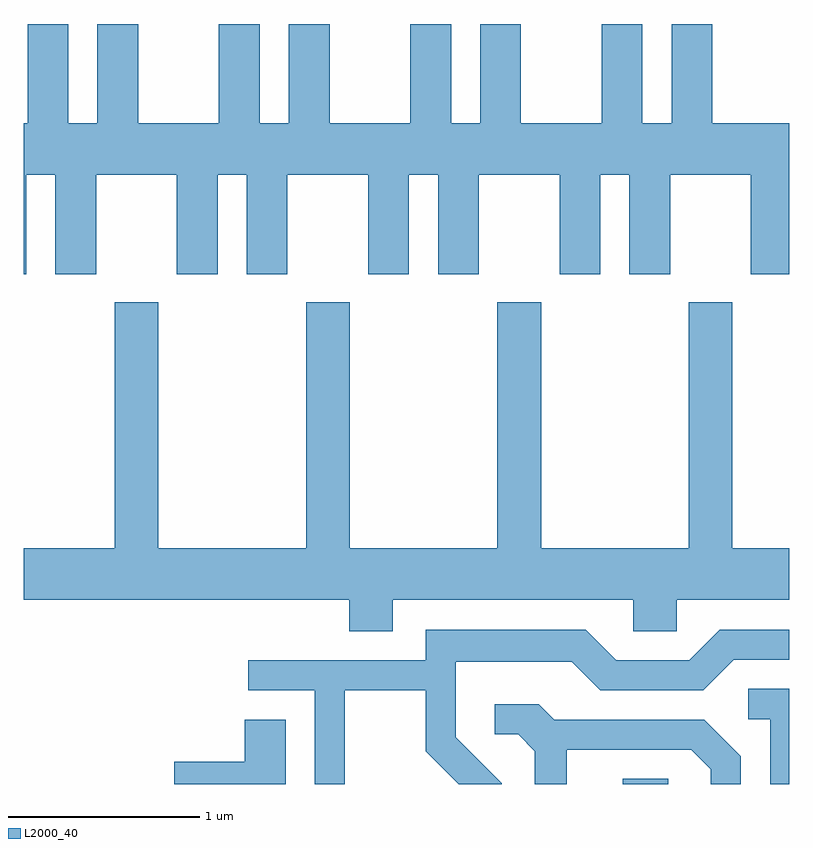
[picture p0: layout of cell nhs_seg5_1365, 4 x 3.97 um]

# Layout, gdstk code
import gdstk
lib = gdstk.Library(unit=1e-6, precision=1e-09)
def R(c, l, rs):  # rectangles x0, y0, x1, y1
    for r in rs: c.add(gdstk.rectangle(r[:2], r[2:], *l))
def P(c, l, *ps):  # polygons
    for p in ps: c.add(gdstk.Polygon(p, *l))
L2000_40 = (2000, 40)

nhs_seg5_1365 = lib.new_cell('nhs_seg5_1365')
R(nhs_seg5_1365, L2000_40, [(228.741,1438.072,228.979,1438.099)])
P(nhs_seg5_1365, L2000_40, [(225.844,1442.044),(225.631,1442.044),(225.631,1441.524),(225.611,1441.524),(225.611,1440.736),(225.624,1440.736),(225.624,1441.256),(225.776,1441.256),(225.776,1440.736),(225.989,1440.736),(225.989,1441.256),(226.411,1441.256),(226.411,1440.736),(226.624,1440.736),(226.624,1441.256),(226.776,1441.256),(226.776,1440.736),(226.989,1440.736),(226.989,1441.256),(227.411,1441.256),(227.411,1440.736),(227.624,1440.736),(227.624,1441.256),(227.776,1441.256),(227.776,1440.736),(227.989,1440.736),(227.989,1441.256),(228.411,1441.256),(228.411,1440.736),(228.624,1440.736),(228.624,1441.256),(228.776,1441.256),(228.776,1440.736),(228.989,1440.736),(228.989,1441.256),(229.411,1441.256),(229.411,1440.736),(229.611,1440.736),(229.611,1441.524),(229.209,1441.524),(229.209,1442.044),(228.996,1442.044),(228.996,1441.524),(228.844,1441.524),(228.844,1442.044),(228.631,1442.044),(228.631,1441.524),(228.209,1441.524),(228.209,1442.044),(227.996,1442.044),(227.996,1441.524),(227.844,1441.524),(227.844,1442.044),(227.631,1442.044),(227.631,1441.524),(227.209,1441.524),(227.209,1442.044),(226.996,1442.044),(226.996,1441.524),(226.844,1441.524),(226.844,1442.044),(226.631,1442.044),(226.631,1441.524),(226.209,1441.524),(226.209,1442.044),(225.996,1442.044),(225.996,1441.524),(225.844,1441.524)],
  [(227.539,1439.036),(228.796,1439.036),(228.796,1438.871),(229.024,1438.871),(229.024,1439.036),(229.611,1439.036),(229.611,1439.304),(229.314,1439.304),(229.314,1440.589),(229.086,1440.589),(229.086,1439.304),(228.314,1439.304),(228.314,1440.589),(228.086,1440.589),(228.086,1439.304),(227.314,1439.304),(227.314,1440.589),(227.086,1440.589),(227.086,1439.304),(226.314,1439.304),(226.314,1440.589),(226.086,1440.589),(226.086,1439.304),(225.611,1439.304),(225.611,1439.036),(227.311,1439.036),(227.311,1438.871),(227.539,1438.871)],
  [(227.289,1438.561),(227.711,1438.561),(227.711,1438.244),(227.883,1438.072),(228.109,1438.072),(228.109,1438.077),(227.869,1438.317),(227.869,1438.711),(228.474,1438.711),(228.624,1438.561),(229.162,1438.561),(229.322,1438.721),(229.611,1438.721),(229.611,1438.879),(229.249,1438.879),(229.089,1438.719),(228.707,1438.719),(228.547,1438.879),(227.711,1438.879),(227.711,1438.719),(226.783,1438.719),(226.783,1438.561),(227.131,1438.561),(227.131,1438.072),(227.289,1438.072)],
  [(229.611,1438.569),(229.398,1438.569),(229.398,1438.411),(229.511,1438.411),(229.511,1438.072),(229.611,1438.072)],
  [(228.449,1438.251),(229.099,1438.251),(229.201,1438.149),(229.201,1438.072),(229.359,1438.072),(229.359,1438.217),(229.167,1438.409),(228.382,1438.409),(228.302,1438.489),(228.073,1438.489),(228.073,1438.331),(228.194,1438.331),(228.281,1438.244),(228.281,1438.072),(228.449,1438.072)],
  [(226.979,1438.409),(226.766,1438.409),(226.766,1438.189),(226.396,1438.189),(226.396,1438.072),(226.979,1438.072)])

lib.write_gds('nhs_seg5_1365.gds')
